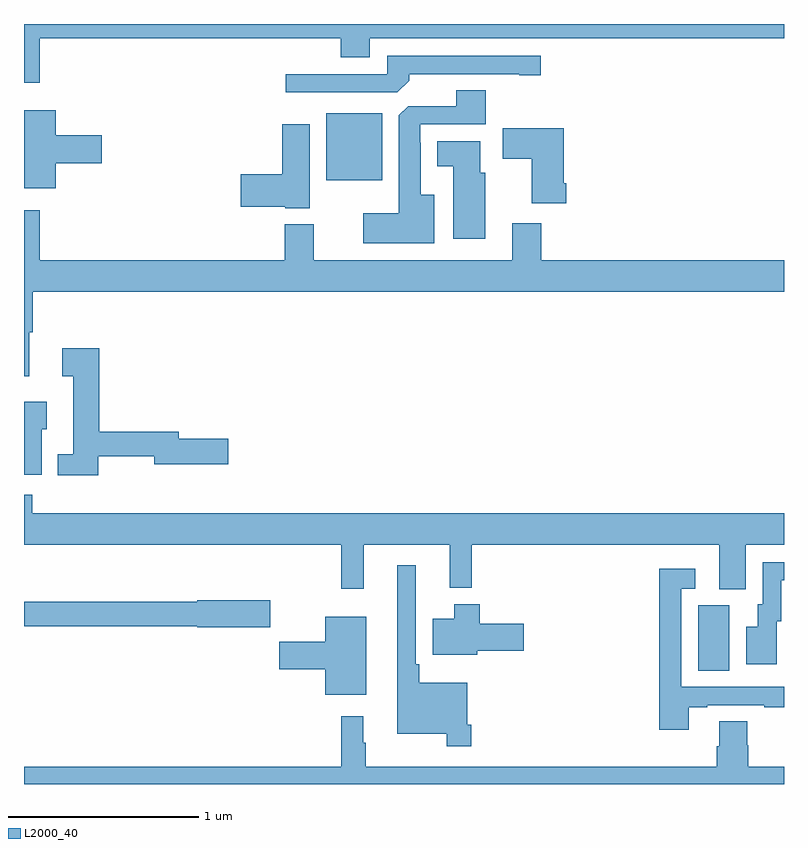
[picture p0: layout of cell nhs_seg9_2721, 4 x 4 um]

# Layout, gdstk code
import gdstk
lib = gdstk.Library(unit=1e-6, precision=1e-09)
def R(c, l, rs):  # rectangles x0, y0, x1, y1
    for r in rs: c.add(gdstk.rectangle(r[:2], r[2:], *l))
def P(c, l, *ps):  # polygons
    for p in ps: c.add(gdstk.Polygon(p, *l))
L2000_40 = (2000, 40)

nhs_seg9_2721 = lib.new_cell('nhs_seg9_2721')
R(nhs_seg9_2721, L2000_40, [(270.548,1189.096,270.712,1189.44), (268.592,1191.677,268.885,1192.03)])
P(nhs_seg9_2721, L2000_40, [(267.083,1192.424),(268.667,1192.424),(268.667,1192.325),(268.819,1192.325),(268.819,1192.424),(271,1192.424),(271,1192.5),(267,1192.5),(267,1192.191),(267.083,1192.191)],
  [(269.027,1192.202),(269.027,1192.236),(269.606,1192.236),(269.606,1192.231),(269.719,1192.231),(269.719,1192.332),(268.911,1192.332),(268.911,1192.236),(268.377,1192.236),(268.377,1192.14),(268.965,1192.14)],
  [(269.158,1191.601),(269.089,1191.601),(269.089,1191.875),(269.085,1191.875),(269.085,1191.972),(269.429,1191.972),(269.429,1192.151),(269.276,1192.151),(269.276,1192.068),(269.022,1192.068),(268.973,1192.019),(268.973,1191.505),(268.785,1191.505),(268.785,1191.347),(269.158,1191.347)],
  [(267.166,1191.767),(267.409,1191.767),(267.409,1191.914),(267.166,1191.914),(267.166,1192.045),(267,1192.045),(267,1191.635),(267.166,1191.635)],
  [(268.504,1191.973),(268.358,1191.973),(268.358,1191.71),(268.14,1191.71),(268.14,1191.539),(268.374,1191.539),(268.374,1191.53),(268.504,1191.53)],
  [(269.855,1191.661),(269.842,1191.661),(269.842,1191.952),(269.52,1191.952),(269.52,1191.79),(269.672,1191.79),(269.672,1191.557),(269.855,1191.557)],
  [(269.428,1191.717),(269.401,1191.717),(269.401,1191.883),(269.174,1191.883),(269.174,1191.752),(269.258,1191.752),(269.258,1191.369),(269.428,1191.369)],
  [(267.028,1190.877),(267.047,1190.877),(267.047,1191.092),(271,1191.092),(271,1191.256),(269.723,1191.256),(269.723,1191.451),(269.57,1191.451),(269.57,1191.256),(268.525,1191.256),(268.525,1191.445),(268.373,1191.445),(268.373,1191.256),(267.083,1191.256),(267.083,1191.52),(267,1191.52),(267,1190.646),(267.028,1190.646)],
  [(267.39,1190.226),(267.686,1190.226),(267.686,1190.183),(268.075,1190.183),(268.075,1190.318),(267.814,1190.318),(267.814,1190.354),(267.395,1190.354),(267.395,1190.794),(267.201,1190.794),(267.201,1190.647),(267.26,1190.647),(267.26,1190.236),(267.178,1190.236),(267.178,1190.126),(267.39,1190.126)],
  [(267.093,1190.367),(267.121,1190.367),(267.121,1190.512),(267,1190.512),(267,1190.127),(267.093,1190.127)],
  [(270.799,1189.76),(271,1189.76),(271,1189.924),(267.044,1189.924),(267.044,1190.023),(267,1190.023),(267,1189.76),(268.669,1189.76),(268.669,1189.527),(268.787,1189.527),(268.787,1189.76),(269.24,1189.76),(269.24,1189.532),(269.357,1189.532),(269.357,1189.76),(270.659,1189.76),(270.659,1189.525),(270.799,1189.525)],
  [(270.961,1189.356),(270.985,1189.356),(270.985,1189.572),(271,1189.572),(271,1189.668),(270.888,1189.668),(270.888,1189.446),(270.863,1189.446),(270.863,1189.327),(270.8,1189.327),(270.8,1189.131),(270.961,1189.131)],
  [(269.354,1188.811),(269.334,1188.811),(269.334,1189.033),(269.081,1189.033),(269.081,1189.129),(269.061,1189.129),(269.061,1189.651),(268.964,1189.651),(268.964,1188.764),(269.226,1188.764),(269.226,1188.699),(269.354,1188.699)],
  [(270.499,1188.903),(270.595,1188.903),(270.595,1188.915),(270.895,1188.915),(270.895,1188.903),(271,1188.903),(271,1189.011),(270.459,1189.011),(270.459,1189.527),(270.532,1189.527),(270.532,1189.633),(270.343,1189.633),(270.343,1188.786),(270.499,1188.786)],
  [(268.297,1189.467),(267.912,1189.467),(267.912,1189.459),(267,1189.459),(267,1189.33),(267.912,1189.33),(267.912,1189.325),(268.297,1189.325)],
  [(269.386,1189.202),(269.629,1189.202),(269.629,1189.344),(269.399,1189.344),(269.399,1189.447),(269.264,1189.447),(269.264,1189.369),(269.15,1189.369),(269.15,1189.181),(269.386,1189.181)],
  [(268.801,1189.381),(268.586,1189.381),(268.586,1189.25),(268.344,1189.25),(268.344,1189.103),(268.586,1189.103),(268.586,1188.971),(268.801,1188.971)],
  [(271,1188.592),(270.812,1188.592),(270.812,1188.705),(270.807,1188.705),(270.807,1188.83),(270.659,1188.83),(270.659,1188.698),(270.647,1188.698),(270.647,1188.592),(268.798,1188.592),(268.798,1188.716),(268.786,1188.716),(268.786,1188.856),(268.669,1188.856),(268.669,1188.592),(267,1188.592),(267,1188.5),(271,1188.5)])

lib.write_gds('nhs_seg9_2721.gds')
